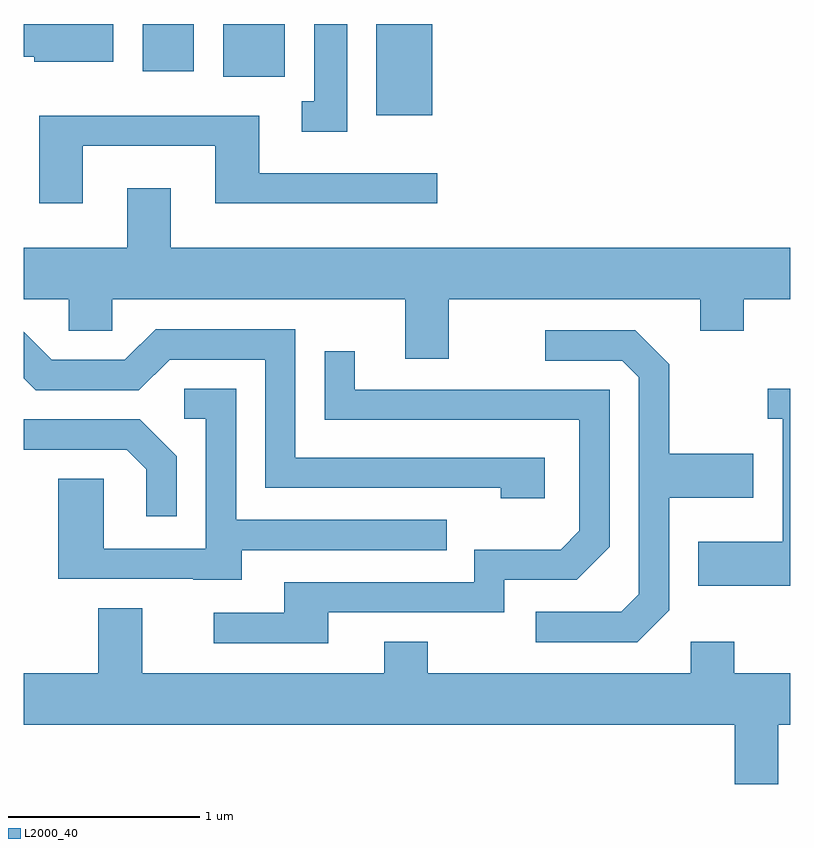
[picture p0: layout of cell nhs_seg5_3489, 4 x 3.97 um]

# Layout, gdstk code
import gdstk
lib = gdstk.Library(unit=1e-6, precision=1e-09)
def R(c, l, rs):  # rectangles x0, y0, x1, y1
    for r in rs: c.add(gdstk.rectangle(r[:2], r[2:], *l))
def P(c, l, *ps):  # polygons
    for p in ps: c.add(gdstk.Polygon(p, *l))
L2000_40 = (2000, 40)

nhs_seg5_3489 = lib.new_cell('nhs_seg5_3489')
R(nhs_seg5_3489, L2000_40, [(291.451,1395.596,291.744,1396.072), (290.651,1395.796,290.974,1396.072), (290.231,1395.826,290.499,1396.072)])
P(nhs_seg5_3489, L2000_40, [(291.299,1396.072),(291.126,1396.072),(291.126,1395.669),(291.063,1395.669),(291.063,1395.511),(291.299,1395.511)],
  [(290.079,1396.072),(289.611,1396.072),(289.611,1395.901),(289.666,1395.901),(289.666,1395.876),(290.079,1395.876)],
  [(289.919,1395.436),(290.611,1395.436),(290.611,1395.136),(291.768,1395.136),(291.768,1395.294),(290.839,1395.294),(290.839,1395.594),(289.691,1395.594),(289.691,1395.136),(289.919,1395.136)],
  [(291.829,1394.636),(293.141,1394.636),(293.141,1394.471),(293.369,1394.471),(293.369,1394.636),(293.611,1394.636),(293.611,1394.904),(290.379,1394.904),(290.379,1395.214),(290.151,1395.214),(290.151,1394.904),(289.611,1394.904),(289.611,1394.636),(289.846,1394.636),(289.846,1394.471),(290.074,1394.471),(290.074,1394.636),(291.601,1394.636),(291.601,1394.326),(291.829,1394.326)],
  [(292.329,1393.809),(291.029,1393.809),(291.029,1394.479),(290.299,1394.479),(290.139,1394.319),(289.757,1394.319),(289.611,1394.465),(289.611,1394.224),(289.674,1394.161),(290.212,1394.161),(290.372,1394.321),(290.871,1394.321),(290.871,1393.651),(292.101,1393.651),(292.101,1393.596),(292.329,1393.596)],
  [(292.979,1393.014),(292.979,1393.601),(293.419,1393.601),(293.419,1393.829),(292.979,1393.829),(292.979,1394.297),(292.802,1394.474),(292.333,1394.474),(292.333,1394.316),(292.734,1394.316),(292.821,1394.229),(292.821,1393.097),(292.729,1393.004),(292.283,1393.004),(292.283,1392.846),(292.812,1392.846)],
  [(291.199,1393.001),(292.119,1393.001),(292.119,1393.171),(292.497,1393.171),(292.669,1393.344),(292.669,1394.164),(291.339,1394.164),(291.339,1394.363),(291.181,1394.363),(291.181,1394.006),(292.511,1394.006),(292.511,1393.427),(292.414,1393.329),(291.961,1393.329),(291.961,1393.159),(290.971,1393.159),(290.971,1392.999),(290.603,1392.999),(290.603,1392.841),(291.199,1392.841)],
  [(293.611,1394.169),(293.493,1394.169),(293.493,1394.011),(293.571,1394.011),(293.571,1393.369),(293.131,1393.369),(293.131,1393.141),(293.611,1393.141)],
  [(290.749,1393.326),(291.818,1393.326),(291.818,1393.484),(290.719,1393.484),(290.719,1394.169),(290.448,1394.169),(290.448,1394.011),(290.561,1394.011),(290.561,1393.334),(290.029,1393.334),(290.029,1393.699),(289.791,1393.699),(289.791,1393.176),(290.495,1393.176),(290.495,1393.171),(290.749,1393.171)],
  [(290.409,1393.817),(290.217,1394.009),(289.611,1394.009),(289.611,1393.851),(290.149,1393.851),(290.251,1393.749),(290.251,1393.503),(290.409,1393.503)],
  [(293.549,1392.416),(293.611,1392.416),(293.611,1392.684),(293.319,1392.684),(293.319,1392.849),(293.091,1392.849),(293.091,1392.684),(291.719,1392.684),(291.719,1392.849),(291.491,1392.849),(291.491,1392.684),(290.229,1392.684),(290.229,1393.024),(290.001,1393.024),(290.001,1392.684),(289.611,1392.684),(289.611,1392.416),(293.321,1392.416),(293.321,1392.106),(293.549,1392.106)])

lib.write_gds('nhs_seg5_3489.gds')
